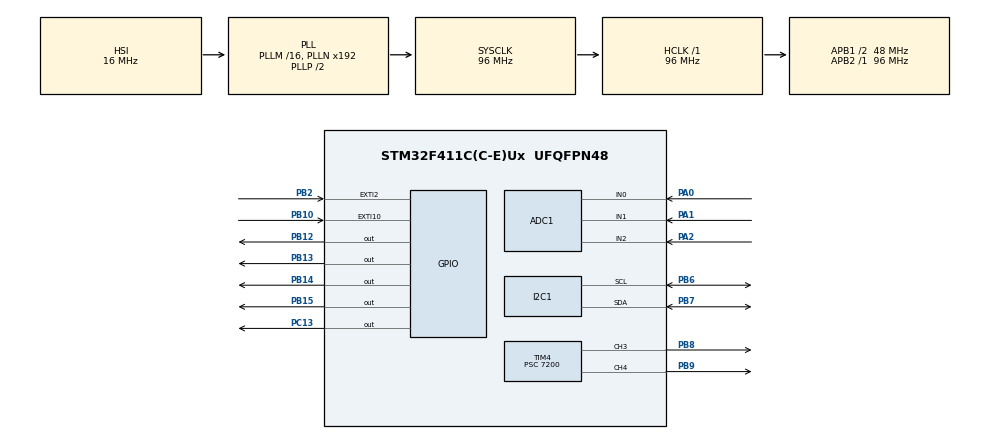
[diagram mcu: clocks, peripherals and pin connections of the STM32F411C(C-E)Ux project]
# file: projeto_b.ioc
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ADC1.Channel-0\#ChannelRegularConversion=ADC_CHANNEL_0
ADC1.NbrOfConversionFlag=1
ADC1.Rank-0\#ChannelRegularConversion=1
ADC1.SamplingTime-0\#ChannelRegularConversion=ADC_SAMPLETIME_3CYCLES
ADC1.master=1
Mcu.Family=STM32F4
Mcu.Name=STM32F411C(C-E)Ux
Mcu.Package=UFQFPN48
NVIC.ADC_IRQn=true\:0\:0\:false\:false\:true\:true\:true\:true
NVIC.PriorityGroup=NVIC_PRIORITYGROUP_4
NVIC.TIM3_IRQn=true\:0\:0\:false\:false\:true\:true\:true\:true
NVIC.TIM4_IRQn=true\:0\:0\:false\:false\:true\:true\:true\:true
PA0-WKUP.Signal=ADCx_IN0
PA1.Signal=ADCx_IN1
PA13.Mode=Serial_Wire
PA13.Signal=SYS_JTMS-SWDIO
PA14.Mode=Serial_Wire
PA14.Signal=SYS_JTCK-SWCLK
PA2.Signal=ADCx_IN2
PB10.GPIO_ModeDefaultEXTI=GPIO_MODE_IT_RISING
PB10.GPIO_PuPd=GPIO_PULLDOWN
PB10.Signal=GPXTI10
PB12.Signal=GPIO_Output
PB13.Signal=GPIO_Output
PB14.Signal=GPIO_Output
PB15.Signal=GPIO_Output
PB2.GPIO_PuPd=GPIO_PULLDOWN
PB2.Signal=GPXTI2
PB6.Mode=I2C
PB6.Signal=I2C1_SCL
PB7.Mode=I2C
PB7.Signal=I2C1_SDA
PB8.Signal=S_TIM4_CH3
PB9.Signal=S_TIM4_CH4
PC13-ANTI_TAMP.Signal=GPIO_Output
PC14-OSC32_IN.Mode=LSE-External-Oscillator
PC14-OSC32_IN.Signal=RCC_OSC32_IN
PC15-OSC32_OUT.Mode=LSE-External-Oscillator
PC15-OSC32_OUT.Signal=RCC_OSC32_OUT
PH0\ -\ OSC_IN.Mode=HSE-External-Oscillator
PH0\ -\ OSC_IN.Signal=RCC_OSC_IN
PH1\ -\ OSC_OUT.Mode=HSE-External-Oscillator
PH1\ -\ OSC_OUT.Signal=RCC_OSC_OUT
ProjectManager.HeapSize=0x200
ProjectManager.StackSize=0x400
ProjectManager.TargetToolchain=STM32CubeIDE
RCC.AHBFreq_Value=96000000
RCC.APB1CLKDivider=RCC_HCLK_DIV2
RCC.APB1Freq_Value=48000000
RCC.APB1TimFreq_Value=96000000
RCC.APB2Freq_Value=96000000
RCC.APB2TimFreq_Value=96000000
RCC.CortexFreq_Value=96000000
RCC.HCLKFreq_Value=96000000
RCC.HSE_VALUE=25000000
RCC.HSI_VALUE=16000000
RCC.SYSCLKFreq_VALUE=96000000
RCC.SYSCLKSource=RCC_SYSCLKSOURCE_PLLCLK
RCC.VCOOutputFreq_Value=192000000
SH.ADCx_IN0.0=ADC1_IN0,IN0
SH.ADCx_IN1.0=ADC1_IN1,IN1
SH.ADCx_IN2.0=ADC1_IN2,IN2
SH.S_TIM4_CH3.0=TIM4_CH3,PWM Generation3 CH3
SH.S_TIM4_CH4.0=TIM4_CH4,PWM Generation4 CH4
TIM3.Period=1380
TIM3.Prescaler=7200
TIM4.Channel-PWM\ Generation3\ CH3=TIM_CHANNEL_3
TIM4.Channel-PWM\ Generation4\ CH4=TIM_CHANNEL_4
TIM4.Period=1380
TIM4.Prescaler=7200
VP_TIM3_VS_ClockSourceINT.Mode=Internal
VP_TIM4_VS_ClockSourceINT.Mode=Internal
board=custom

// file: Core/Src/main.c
/* USER CODE BEGIN Header */
/**
  ******************************************************************************
  * @file           : main.c
  * @brief          : Corpo principal do programa (Main program body)
  * Este código controla um sistema IoT com sensores, display LCD,
  * atuadores via PWM (Ventoinha/Lâmpada) e menus interativos.
  ******************************************************************************
  * @attention
  *
  * Copyright (c) 2025 STMicroelectronics.
  * All rights reserved.
  *
  * This software is licensed under terms that can be found in the LICENSE file
  * in the root directory of this software component.
  * If no LICENSE file comes with this software, it is provided AS-IS.
  *
  ******************************************************************************
  */
#include "i2c_lcd.h" // Biblioteca personalizada para controle do LCD via I2C

#include <stdio.h>   // Necessário para funções como snprintf (formatação de texto)

#include <string.h>  // Necessário para manipulação de strings
/* USER CODE END Header */
#include "main.h"

/* USER CODE BEGIN Includes */
#include <stdlib.h>
/* Private includes ----------------------------------------------------------*/
/* USER CODE BEGIN Includes */

/* USER CODE END Includes */

/* USER CODE BEGIN PTD */

/* --- MÁQUINA DE ESTADOS FINITOS (FSM) --- */
/* Define os 6 estados possíveis do sistema para organizar a lógica de controle */
typedef enum {
    STATE_INIT,         // 1. Inicialização: Mensagem de boas-vindas e setup inicial
    STATE_MONITORING,   // 2. Monitoramento: Apenas lê sensores e mostra no LCD (sem ligar cargas)
    STATE_AUTO_CONTROL, // 3. Automático: Atua nos relés/PWM baseado nos sensores (Lógica principal)
    STATE_MANUAL_MODE,  // 4. Manual: Usuário controla (ou sistema fica em espera/manutenção)
    STATE_ALARM,        // 5. Alarme: Estado crítico quando limites são violados (pisca LED, avisa LCD)
    STATE_CONFIG        // 6. Configuração: Menu interativo para alterar limites e modos
} SystemState;

/* --- ESTRUTURA DO MENU --- */
/* Define as opções navegáveis no LCD */
typedef enum {
    MENU_VALUES,        // Opção 1: Ver valores (retorna ao monitoramento)
    MENU_LIMITS,        // Opção 2: Entrar na edição de limites (Temp, Umid, Luz)
    MENU_MODE,          // Opção 3: Alternar Auto/Manual
    MENU_RESET,         // Opção 4: Reset de software do MCU
    MENU_COUNT          // Auxiliar: Conta quantos itens existem (para cálculo do módulo %)
} MenuOption;

/* USER CODE END PTD */

ADC_HandleTypeDef hadc1; // Handler do Conversor Analógico-Digital 1

I2C_HandleTypeDef hi2c1; // Handler da comunicação I2C (para o LCD)

TIM_HandleTypeDef htim3; // Timer para temporização de leitura (loop de sensores)
TIM_HandleTypeDef htim4; // Timer para geração de PWM (controle de potência Ventoinha/Lâmpada)

/* USER CODE BEGIN PV */
/* --- Variáveis Globais do Usuário --- */

I2C_LCD_HandleTypeDef lcd1;     // Estrutura de controle do display LCD
SystemState currentState = STATE_INIT; // Estado inicial da máquina
MenuOption currentMenuOption = MENU_VALUES; // Opção inicial do menu
uint8_t menuLevel = 0;          // Nível do menu: 0 = Principal, 1 = Sub-menu (edição)
uint8_t currentLimitToEdit = 0; // Índice do limite a editar: 0=Temp, 1=Umid, 2=Luz
uint8_t isEditingLimit = 0;     // Flag: 0 = Navegando, 1 = Editando valor (seta piscando/valor mudando)

// Variáveis de Sensores (Dados Brutos do ADC: 0 a 4095 para 12 bits)
uint16_t adc_temp_raw = 0;  // Leitura Canal PA0
uint16_t adc_humid_raw = 0; // Leitura Canal PA1
uint16_t adc_light_raw = 0; // Leitura Canal PA2

// Valores Convertidos para Unidades Físicas
float temperature = 0.0; // Em Graus Celsius (0-50°C)
float humidity = 0.0;    // Em Porcentagem (0-100%)
float luminosity = 0.0;  // Em Porcentagem (0-100%)

// Limites de Disparo (Setpoints padrão)
float temp_limit_high = 30.0; // Acima disso, liga ventoinha/alarme
float humid_limit_low = 50.0; // Abaixo disso, alarme
float light_limit_low = 50.0; // Abaixo disso, liga lâmpada/alarme

// Flags de Controle do Sistema
uint8_t isAutoMode = 1;  // 1 = Controle Automático (PWM ativo), 0 = Manual
uint8_t systemOn = 1;    // 1 = Sistema Ligado, 0 = Parada de Emergência
uint8_t alarmActive = 0; // 1 = Condição de alarme detectada

// Variáveis de Debounce (Anti-repique) e Interrupções
uint32_t lastButton1Press = 0; // Timestamp da última pressão do Botão 1
uint32_t lastButton2Press = 0; // Timestamp da última pressão do Botão 2
uint8_t sensorUpdateFlag = 0;  // Flag levantada pelo TIM3 para avisar hora de ler sensores
uint8_t button1Flag = 0;       // Flag levantada pela interrupção EXTI (PB2) - Navegar
uint8_t button2Flag = 0;       // Flag levantada pela interrupção EXTI (PB10) - Selecionar
uint8_t emergencyFlag = 0;     // Flag levantada pela interrupção EXTI (PA5) - Emergência

// Definições de Pinos dos LEDs (Mapeamento de Hardware)
#define LED_SYSTEM_ON  GPIO_PIN_13 // PC13 - Indica MCU rodando
#define LED_AUTO_MODE  GPIO_PIN_12 // PB12 - Indica Modo Automático
#define LED_ALARM      GPIO_PIN_13 // PB13 - Indica Alarme Crítico
#define LED_FAN        GPIO_PIN_14 // PB14 - Indica Saída PWM Ventoinha ativa
#define LED_LAMP       GPIO_PIN_15 // PB15 - Indica Saída PWM Lâmpada ativa

/* USER CODE END PV */

void SystemClock_Config(void);
static void MX_GPIO_Init(void);
static void MX_ADC1_Init(void);
static void MX_I2C1_Init(void);
static void MX_TIM3_Init(void);
static void MX_TIM4_Init(void);
/* USER CODE BEGIN PFP */
/* Protótipos das Funções Criadas pelo Usuário */
static void ADC_Read_All(void);          // Lê todos os canais ADC
static void Convert_ADC_Values(void);    // Converte Raw -> Físico
static void State_Handler(void);         // Gerencia a troca de estados
static void Update_LCD_Display(void);    // Atualiza LCD em modo normal
static void Check_Limits_and_Control(void); // Lógica de controle (PWM e Alarmes)
static void Update_LEDs(void);           // Liga/Desliga LEDs físicos

// Funções Específicas do Menu
static void Menu_Display(void);          // Desenha o menu no LCD
static void Menu_Action_Button1(void);   // Lógica do botão "Navegar"
static void Menu_Action_Button2(void);   // Lógica do botão "Selecionar"
/* USER CODE END PFP */

/* USER CODE BEGIN 0 */

/**
  * @brief  Realiza a leitura sequencial dos 3 canais do ADC.
  * Configura o canal, inicia a conversão, aguarda e lê o valor.
  */
static void ADC_Read_All(void)
{
    ADC_ChannelConfTypeDef sConfig = {0};

    // 1. Leitura PA0 (Sensor de Temperatura)
    sConfig.Channel = ADC_CHANNEL_0;
    sConfig.Rank = 1;
    sConfig.SamplingTime = ADC_SAMPLETIME_3CYCLES; // Tempo de amostragem rápido
    if (HAL_ADC_ConfigChannel(&hadc1, &sConfig) == HAL_OK) {
        HAL_ADC_Start(&hadc1); // Inicia conversão
        HAL_ADC_PollForConversion(&hadc1, 100); // Espera terminar (timeout 100ms)
        adc_temp_raw = HAL_ADC_GetValue(&hadc1); // Salva valor bruto
    }

    // 2. Leitura PA1 (Sensor de Umidade)
    sConfig.Channel = ADC_CHANNEL_1;
    if (HAL_ADC_ConfigChannel(&hadc1, &sConfig) == HAL_OK) {
        HAL_ADC_Start(&hadc1);
        HAL_ADC_PollForConversion(&hadc1, 100);
        adc_humid_raw = HAL_ADC_GetValue(&hadc1);
    }

    // 3. Leitura PA2 (Sensor de Luminosidade / LDR)
    sConfig.Channel = ADC_CHANNEL_2;
    if (HAL_ADC_ConfigChannel(&hadc1, &sConfig) == HAL_OK) {
        HAL_ADC_Start(&hadc1);
        HAL_ADC_PollForConversion(&hadc1, 100);
        adc_light_raw = HAL_ADC_GetValue(&hadc1);
    }
}

/**
  * @brief  Converte valores brutos do ADC (0-4095) para valores físicos reais.
  * Aplica regra de três simples baseada na calibração teórica.
  */
static void Convert_ADC_Values(void)
{
    // Proteção: Ignora leituras absurdas (acima de 12 bits)
    if (adc_temp_raw > 4095 || adc_humid_raw > 4095 || adc_light_raw > 4095) {
        // Poderia adicionar flag de erro de sensor aqui
        return;
    }

    // Conversão Matemática:
    // Temperatura: Mapeia 0-4095 para 0-50°C
    temperature = (float)adc_temp_raw * 50.0f / 4095.0f;

    // Umidade: Mapeia 0-4095 para 0-100%
    humidity = (float)adc_humid_raw * 100.0f / 4095.0f;

    // Luminosidade: Mapeia 0-4095 para 0-100%
    luminosity = (float)adc_light_raw * 100.0f / 4095.0f;
}

/**
  * @brief  Coração do controle automático. Verifica limites e ajusta PWM.
  */
static void Check_Limits_and_Control(void)
{
    // 1. Verificação de Limites para acionar ALARME
    // Se Temp alta, Umidade baixa ou Luz baixa -> Ativa Alarme
    if (temperature > temp_limit_high ||
        humidity < humid_limit_low ||
        luminosity < light_limit_low)
    {
        alarmActive = 1;
        // Se não estiver configurando o menu, força ir para tela de alarme
        if (currentState != STATE_CONFIG) {
             currentState = STATE_ALARM;
        }
    }
    // Lógica de Histerese (Zona Morta) para desligar o alarme
    else if (alarmActive)
    {
        // Só desliga o alarme se os valores voltarem com uma margem de segurança
        // (ex: Temp cair 1°C abaixo do limite, Umid subir 2% acima do limite)
        if (temperature < temp_limit_high - 1.0f &&
            humidity > humid_limit_low + 2.0f &&
            luminosity > light_limit_low + 2.0f)
        {
            alarmActive = 0;
            // Retorna ao estado anterior (Auto ou Monitoramento)
            if (currentState == STATE_ALARM) {
                 currentState = isAutoMode ? STATE_AUTO_CONTROL : STATE_MONITORING;
                 lcd_clear(&lcd1); // Limpa tela para tirar mensagem de erro
            }
        }
    }

    // 2. Controle Proporcional (PWM) dos Atuadores
    // Só atua se estiver em modo AUTOMÁTICO e Sistema LIGADO
    if (isAutoMode && systemOn)
    {
        // --- Controle da Ventoinha (Rampa Linear) ---
        uint16_t fan_pwm_pulse = 0;
        float start_temp = 20.0f; // Temperatura onde a ventoinha começa a girar

        if (temperature < start_temp) {
            // Se menor que 20°C -> Ventoinha parada
            fan_pwm_pulse = 0;
        }
        else if (temperature >= temp_limit_high) {
            // Se maior que o Limite -> Velocidade Máxima
            fan_pwm_pulse = htim4.Init.Period;
        }
        else {
            // Rampa Linear entre 20°C e o Limite (ex: 30°C)
            // Calcula regra de três para o Duty Cycle
            float range = temp_limit_high - start_temp;
            if (range <= 0) range = 1.0f; // Evita divisão por zero

            fan_pwm_pulse = (uint16_t)(((temperature - start_temp) / range) * htim4.Init.Period);
        }

        // Aplica o valor ao registrador do Timer 4 Canal 3 (Pino PB8/PB14 dependendo do hardware)
        htim4.Instance->CCR3 = fan_pwm_pulse;

        // --- Controle da Lâmpada (On/Off via PWM Max/Min) ---
        uint16_t lamp_pwm_pulse = 0;
        // Se estiver muito escuro, liga a lâmpada no máximo
        if (luminosity < light_limit_low)
        {
            lamp_pwm_pulse = htim4.Init.Period;
        }
        htim4.Instance->CCR4 = lamp_pwm_pulse; // Atualiza Timer 4 Canal 4

    } else {
        // Se estiver em MANUAL ou DESLIGADO, corta as saídas PWM
        htim4.Instance->CCR3 = 0;
        htim4.Instance->CCR4 = 0;
    }
}

/**
  * @brief  Atualiza o estado físico dos LEDs baseados nas variáveis globais.
  */
static void Update_LEDs(void)
{
    // LED1 (PC13): System On (Aceso se systemOn = 1)
    HAL_GPIO_WritePin(GPIOC, LED_SYSTEM_ON, systemOn ? GPIO_PIN_SET : GPIO_PIN_RESET);

    // LED2 (PB12): Auto Mode (Aceso se Auto = 1 e System = 1)
    HAL_GPIO_WritePin(GPIOB, LED_AUTO_MODE, isAutoMode && systemOn ? GPIO_PIN_SET : GPIO_PIN_RESET);

    // LED3 (PB13): Alarme
    // Se houver alarme, o Timer 3 fará ele piscar. Se não, garante apagado aqui.
    if (alarmActive && systemOn) {
        // O controle de piscar está no Callback do Timer 3
    } else {
        HAL_GPIO_WritePin(GPIOB, LED_ALARM, GPIO_PIN_RESET);
    }

    // LED4 (PB14): Fan Active (Aceso se PWM da ventoinha > 0)
    HAL_GPIO_WritePin(GPIOB, LED_FAN, (htim4.Instance->CCR3 > 0 && systemOn) ? GPIO_PIN_SET : GPIO_PIN_RESET);

    // LED5 (PB15): Lamp Active (Aceso se PWM da lâmpada > 0)
    HAL_GPIO_WritePin(GPIOB, LED_LAMP, (htim4.Instance->CCR4 > 0 && systemOn) ? GPIO_PIN_SET : GPIO_PIN_RESET);
}

/**
  * @brief  Gerenciador principal da Lógica (Máquina de Estados).
  * Executado ciclicamente dentro do While(1).
  */
static void State_Handler(void)
{
    // *** Transição Prioritária 1: Entrar no Menu ***
    // Se algum botão foi apertado, força ida para CONFIG, a menos que seja emergência
    if (button1Flag || button2Flag) {
        if (currentState != STATE_CONFIG && systemOn) {
            currentState = STATE_CONFIG;
            menuLevel = 0;      // Reseta para o topo do menu
            isEditingLimit = 0; // Garante que não entra editando
            lcd_clear(&lcd1);   // Prepara o display
        }
        // Nota: As flags não são limpas aqui, são tratadas dentro do case STATE_CONFIG
    }

    // *** Transição Prioritária 2: Emergência (Sistema Desligado) ***
    if (!systemOn) {
        lcd_clear(&lcd1);
        lcd_gotoxy(&lcd1, 0, 0);
        lcd_puts(&lcd1, "EMERGENCIA!");
        lcd_gotoxy(&lcd1, 0, 1);
        lcd_puts(&lcd1, "SISTEMA OFFLINE");

        // Segurança: Desliga tudo
        htim4.Instance->CCR3 = 0;
        htim4.Instance->CCR4 = 0;
        HAL_GPIO_WritePin(GPIOB, LED_AUTO_MODE | LED_ALARM | LED_FAN | LED_LAMP, GPIO_PIN_RESET);
        return; // Sai da função, não executa o switch abaixo
    }

    // *** Transição Prioritária 3: Alarme Crítico ***
    // Se detectou alarme e não estamos configurando, vai para tela de erro
    if (alarmActive && currentState != STATE_ALARM && currentState != STATE_CONFIG) {
        currentState = STATE_ALARM;
        lcd_clear(&lcd1);
    }

    // Switch Case Principal: Executa a lógica baseada no estado atual
    switch (currentState) {
        case STATE_INIT:
            // Tela de Boot
            lcd_clear(&lcd1);
            lcd_gotoxy(&lcd1, 0, 0);
            lcd_puts(&lcd1, "  Sistema IOT ");
            lcd_gotoxy(&lcd1, 0, 1);
            lcd_puts(&lcd1, "  Iniciando...");
            HAL_Delay(1000); // Aguarda 1s para leitura do usuário
            // Define o estado inicial real
            currentState = isAutoMode ? STATE_AUTO_CONTROL : STATE_MONITORING;
            break;

        case STATE_AUTO_CONTROL:
            // Modo Principal: Lê sensores periodicamente e atua
            if (sensorUpdateFlag) { // Flag setada pelo Timer a cada ~2s
                ADC_Read_All();
                Convert_ADC_Values();
                Check_Limits_and_Control(); // Calcula PWM e verifica Alarmes
                sensorUpdateFlag = 0;       // Reseta flag
            }
            Update_LCD_Display(); // Mostra T, H, L no LCD
            break;

        case STATE_MANUAL_MODE:
             // Modo Manual: Lê sensores mas NÃO atua automaticamente (controle PWM é zero)
             // (Ou poderia ser implementado controle manual via potenciômetro aqui)
             if (sensorUpdateFlag) {
                 ADC_Read_All();
                 Convert_ADC_Values();
                 sensorUpdateFlag = 0;
             }
             Update_LCD_Display();
             break;

        case STATE_ALARM:
            // Modo de Erro: Mostra qual sensor falhou
            if (sensorUpdateFlag) {
                ADC_Read_All();
                Convert_ADC_Values();
                Check_Limits_and_Control(); // Verifica se condições voltaram ao normal
                sensorUpdateFlag = 0;
            }

            // Garante tela limpa na primeira entrada
            static SystemState lastState = STATE_INIT;
            if (lastState != STATE_ALARM) {
                lcd_clear(&lcd1);
            }
            lastState = STATE_ALARM;

            // Exibe mensagem de erro formatada
            lcd_gotoxy(&lcd1, 0, 0);
            lcd_puts(&lcd1, "!!!! ALARME !!!!");

            char msg[17];
            // Identifica a causa do alarme para mostrar na linha 2
            if (temperature > temp_limit_high) snprintf(msg, 17, "T:%.1f > %.0f", temperature, temp_limit_high);
            else if (humidity < humid_limit_low) snprintf(msg, 17, "H:%.1f < %.0f", humidity, humid_limit_low);
            else if (luminosity < light_limit_low) snprintf(msg, 17, "L:%.1f < %.0f", luminosity, light_limit_low);
            else snprintf(msg, 17, "Recuperando..."); // Histerese atuando

            lcd_gotoxy(&lcd1, 0, 1);
            lcd_puts(&lcd1, msg);
            break;

        case STATE_CONFIG:
            // Modo Menu: Processa botões para navegar/editar
            if (button1Flag) {
                Menu_Action_Button1(); // Ação: Próximo / Incrementar
                button1Flag = 0;       // Limpa flag (evento consumido)
            }
            if (button2Flag) {
                Menu_Action_Button2(); // Ação: Entrar / Salvar / Sair
                button2Flag = 0;       // Limpa flag
            }

            Menu_Display(); // Renderiza o menu no LCD
            break;
    }

    Update_LEDs(); // Atualiza LEDs físicos em todo ciclo
    HAL_Delay(10); // Pequeno delay para estabilidade do loop principal
}

/**
  * @brief  Formata e imprime os valores dos sensores no LCD (Modo Normal).
  */
static void Update_LCD_Display(void)
{
    char line1[17];
    char line2[17];

    if (currentState == STATE_MONITORING || currentState == STATE_AUTO_CONTROL) {
        // Linha 1: "T:25.0C H:60.0%"
        snprintf(line1, 17, "T:%.1fC H:%.1f%%", temperature, humidity);
        // Linha 2: "L:80.0% [AUTO]"
        snprintf(line2, 17, "L:%.1f%% %s", luminosity, isAutoMode ? "[AUTO]" : "[MANUAL]");

        lcd_gotoxy(&lcd1, 0, 0);
        lcd_puts(&lcd1, line1);
        lcd_gotoxy(&lcd1, 0, 1);
        lcd_puts(&lcd1, line2);
    }
}

/**
  * @brief  Gerencia o desenho do Menu e Sub-menus no LCD.
  */
static void Menu_Display(void)
{
    // Nível 0: Menu Principal (Lista de opções)
    if (menuLevel == 0) {
        lcd_gotoxy(&lcd1, 0, 0);
        lcd_puts(&lcd1, ">> Menu Principal");
        lcd_gotoxy(&lcd1, 0, 1);

        // Mostra a opção selecionada com base em `currentMenuOption`
        switch (currentMenuOption) {
            case MENU_VALUES:
                lcd_puts(&lcd1, ">1. Valores Atuais");
                break;
            case MENU_LIMITS:
                lcd_puts(&lcd1, ">2. Limites");
                break;
            case MENU_MODE:
                lcd_puts(&lcd1, ">3. Modo: [ ]");
                lcd_gotoxy(&lcd1, 12, 1);
                lcd_puts(&lcd1, isAutoMode ? "AUTO" : "MANUAL"); // Mostra estado atual
                break;
            case MENU_RESET:
                lcd_puts(&lcd1, ">4. Resetar");
                break;
            default:
                lcd_puts(&lcd1, ">Menu Invalido");
                break;
        }
    }
    // Nível 1: Tela de Edição de Limites
    else if (menuLevel == 1 && currentMenuOption == MENU_LIMITS) {
        char line1[17];
        char line2[17];
        // Arrays auxiliares para iterar sobre os limites
        const char *lim_names[] = {"T MAX", "H MIN", "L MIN"};
        float *limits[] = {&temp_limit_high, &humid_limit_low, &light_limit_low};

        // Verifica se estamos editando um dos 3 limites ou na opção "Voltar"
        if (currentLimitToEdit <= 2) {
            // Mostra Nome do Limite e Valor Atual
            snprintf(line1, 17, "%s: %.1f%s", lim_names[currentLimitToEdit], *limits[currentLimitToEdit], currentLimitToEdit == 0 ? "C" : "%");
            lcd_gotoxy(&lcd1, 0, 0);
            lcd_puts(&lcd1, line1);

            if (isEditingLimit) {
                // Modo Edição Ativa: B1 soma valor, B2 salva
                snprintf(line2, 17, "B1:+1.0 | B2:SALVAR");
            } else {
                // Modo Navegação: B1 vai pro próximo, B2 edita este
                snprintf(line2, 17, ">B1:PROX | B2:EDITAR");
            }
        } else {
            // Opção 4: Sair/Voltar
            lcd_gotoxy(&lcd1, 0, 0);
            lcd_puts(&lcd1, " Limites Config.");
            snprintf(line2, 17, "> B1:PROX | B2:VOLTAR");
        }

        lcd_gotoxy(&lcd1, 0, 1);
        lcd_puts(&lcd1, line2);
    }
}

/**
  * @brief  Lógica do Botão 1 (Navegação/Incremento).
  */
static void Menu_Action_Button1(void)
{
    if (menuLevel == 0) {
        // No Menu Principal: Desce para a próxima opção (ciclo infinito)
        currentMenuOption = (currentMenuOption + 1) % MENU_COUNT;
    }
    else if (menuLevel == 1 && currentMenuOption == MENU_LIMITS) {
        // No Sub-menu de Limites
        float *limits[] = {&temp_limit_high, &humid_limit_low, &light_limit_low};

        if (isEditingLimit) {
            // Se editando: Soma +1.0 ao valor
            *limits[currentLimitToEdit] += 1.0f;

            // Clamping: Impede valores absurdos
            if (currentLimitToEdit == 0 && *limits[0] > 50.0f) *limits[0] = 50.0f; // Max Temp 50
            if (currentLimitToEdit > 0 && *limits[currentLimitToEdit] > 100.0f) *limits[currentLimitToEdit] = 100.0f; // Max % 100
        } else {
            // Se navegando: Vai para o próximo limite
            currentLimitToEdit++;
            if (currentLimitToEdit > 3) { // 0, 1, 2, 3(Voltar)
                currentLimitToEdit = 0;
            }
        }
    }
}

/**
  * @brief  Lógica do Botão 2 (Seleção/Edição/Confirmação).
  */
static void Menu_Action_Button2(void)
{
    // Nível 0: Executa a opção selecionada no Menu Principal
    if (menuLevel == 0) {
        switch (currentMenuOption) {
            case MENU_VALUES:
                // Sai do menu e volta a mostrar valores
                currentState = isAutoMode ? STATE_AUTO_CONTROL : STATE_MONITORING;
                lcd_clear(&lcd1);
                menuLevel = 0;
                break;
            case MENU_LIMITS:
                // Entra no sub-menu de limites
                menuLevel = 1;
                currentLimitToEdit = 0;
                isEditingLimit = 0;
                lcd_clear(&lcd1);
                break;
            case MENU_MODE:
                // Alterna flag Auto/Manual imediatamente
                isAutoMode = !isAutoMode;
                currentState = isAutoMode ? STATE_AUTO_CONTROL : STATE_MONITORING;
                lcd_clear(&lcd1);
                break;
            case MENU_RESET:
                // Reseta o microcontrolador via software
                NVIC_SystemReset();
                break;
            default:
                break;
        }
    }
    // Nível 1: Lógica dentro do Sub-menu Limites
    else if (menuLevel == 1 && currentMenuOption == MENU_LIMITS) {
        if (currentLimitToEdit <= 2) {
            // Se estiver sobre um valor (Temp/Umid/Luz)
            if (isEditingLimit) {
                // Se já estava editando, SALVA (para de editar)
                isEditingLimit = 0;
            } else {
                // Se não estava, COMEÇA a editar
                isEditingLimit = 1;
            }
        } else { // Opção "Voltar"
            // Retorna ao Menu Principal
            menuLevel = 0;
            currentLimitToEdit = 0;
            isEditingLimit = 0;
            lcd_clear(&lcd1);
        }
    }
}

/**
  * @brief  Callback do Timer. Executado quando TIM3 estoura.
  * @param  htim: Ponteiro para o timer que gerou a interrupção.
  */
void HAL_TIM_PeriodElapsedCallback(TIM_HandleTypeDef *htim)

{

if (htim->Instance == TIM3)

{

// Timer 3: Controle de tempo para leitura de sensores
// Configurado para gerar interrupção periódica.

static uint8_t count2s = 0; // Contador auxiliar para gerar base de tempo maior

if (count2s++ >= 5) // Exemplo: Se timer base é 100ms, 5x = 500ms (ajustar conforme prescaler)
{
    sensorUpdateFlag = 1; // Avisa o loop principal para ler ADC
    count2s = 0;
}

// Controle do Piscar do LED de Alarme (Toggle)
if (alarmActive && systemOn)
{
    HAL_GPIO_TogglePin(GPIOB, LED_ALARM); // Inverte estado do pino
}

}

}

/**
  * @brief  Callback de Interrupção Externa (Botões e Emergência).
  * Chamado quando há mudança de estado nos pinos configurados como EXTI.
  */
void HAL_GPIO_EXTI_Callback(uint16_t GPIO_Pin)
{
    // Debounce: Evita múltiplas leituras falsas causadas pela mecânica do botão
    uint32_t currentTick = HAL_GetTick();

    if (GPIO_Pin == GPIO_PIN_2) // Botão 1 (PB2) - Navegar
    {
        if (currentTick - lastButton1Press > 200) // Ignora se pressionado em menos de 200ms
        {
            button1Flag = 1; // Seta flag para o State_Handler processar
            lastButton1Press = currentTick;
        }
    }
    else if (GPIO_Pin == GPIO_PIN_10) // Botão 2 (PB10) - Selecionar
        {
            // Debounce maior (400ms) para evitar cliques duplos acidentais no menu
            if (currentTick - lastButton2Press > 400)
            {
                button2Flag = 1;
                lastButton2Press = currentTick;
            }
        }
    else if (GPIO_Pin == GPIO_PIN_5) // Botão de Emergência (PA5)
    {
        // Prioridade máxima: Desliga sistema instantaneamente via hardware/flag
        systemOn = 0;
        emergencyFlag = 1;
    }
}

/**
  * @brief System Clock Configuration
  * @retval None
  */

/* USER CODE END 0 */

/**
  * @brief  Ponto de entrada do programa (Main).
  * @retval int
  */
int main(void)
{
  /* USER CODE BEGIN 1 */
  // Inicializações de baixo nível (antes do HAL)
  /* USER CODE END 1 */

  /* MCU Configuration--------------------------------------------------------*/

  /* Reset de todos periféricos e Init da Flash/Systick */
  HAL_Init();

  /* Configura o Clock do sistema (PLL, Prescalers) */
  SystemClock_Config();

  /* Inicializa os periféricos configurados no CubeMX */
  MX_GPIO_Init();  // GPIOs (LEDs, Botões)
  MX_ADC1_Init();  // ADC (Sensores)
  MX_I2C1_Init();  // I2C (LCD)
  MX_TIM3_Init();  // Timer Leitura/Pisca
  MX_TIM4_Init();  // Timer PWM
  /* USER CODE BEGIN 2 */

  // Configuração e Inicialização do Driver do LCD
  lcd1.hi2c = &hi2c1; // Associa handler I2C
  lcd1.address = 0x27 << 1; // Endereço I2C do módulo (0x27 deslocado)
  lcd_init(&lcd1); // Sequência de init do display

  // Inicia Timer 3 em modo Interrupção (base de tempo)
  HAL_TIM_Base_Start_IT(&htim3);

  // Inicia canais de PWM do Timer 4
  HAL_TIM_PWM_Start(&htim4, TIM_CHANNEL_3); // Ventoinha
  HAL_TIM_PWM_Start(&htim4, TIM_CHANNEL_4); // Lâmpada

  // Garante que PWM comece zerado
  htim4.Instance->CCR3 = 0;
  htim4.Instance->CCR4 = 0;

  // Define estado inicial da FSM
  currentState = STATE_INIT;

  /* USER CODE END 2 */

  /* Infinite loop */
  /* USER CODE BEGIN WHILE */
  // Loop Principal do programa
  while (1)
  {
      // Chama o gerenciador de estados continuamente
	  State_Handler();

	  // Pequeno atraso para evitar consumo excessivo de CPU e dar tempo para ADC/Display
	  HAL_Delay(10);

    /* USER CODE END WHILE */

  }
}

void SystemClock_Config(void)
{
  RCC_OscInitTypeDef RCC_OscInitStruct = {0};
  RCC_ClkInitTypeDef RCC_ClkInitStruct = {0};

  /** Configure the main internal regulator output voltage
  */
  __HAL_RCC_PWR_CLK_ENABLE();
  __HAL_PWR_VOLTAGESCALING_CONFIG(PWR_REGULATOR_VOLTAGE_SCALE1);

  /** Initializes the RCC Oscillators according to the specified parameters
  * in the RCC_OscInitTypeDef structure.
  */
  // Configura oscilador interno (HSI) e PLL para atingir clock desejado
  RCC_OscInitStruct.OscillatorType = RCC_OSCILLATORTYPE_HSI;
  RCC_OscInitStruct.HSIState = RCC_HSI_ON;
  RCC_OscInitStruct.HSICalibrationValue = RCC_HSICALIBRATION_DEFAULT;
  RCC_OscInitStruct.PLL.PLLState = RCC_PLL_ON;
  RCC_OscInitStruct.PLL.PLLSource = RCC_PLLSOURCE_HSI;
  RCC_OscInitStruct.PLL.PLLM = 16;
  RCC_OscInitStruct.PLL.PLLN = 192; // Configuração de multiplicadores do PLL
  RCC_OscInitStruct.PLL.PLLP = RCC_PLLP_DIV2;
  RCC_OscInitStruct.PLL.PLLQ = 4;
  if (HAL_RCC_OscConfig(&RCC_OscInitStruct) != HAL_OK)
  {
    Error_Handler();
  }

  /** Initializes the CPU, AHB and APB buses clocks
  */
  // Distribui clocks para os barramentos
  RCC_ClkInitStruct.ClockType = RCC_CLOCKTYPE_HCLK|RCC_CLOCKTYPE_SYSCLK
                              |RCC_CLOCKTYPE_PCLK1|RCC_CLOCKTYPE_PCLK2;
  RCC_ClkInitStruct.SYSCLKSource = RCC_SYSCLKSOURCE_PLLCLK;
  RCC_ClkInitStruct.AHBCLKDivider = RCC_SYSCLK_DIV1;
  RCC_ClkInitStruct.APB1CLKDivider = RCC_HCLK_DIV2;
  RCC_ClkInitStruct.APB2CLKDivider = RCC_HCLK_DIV1;

  if (HAL_RCC_ClockConfig(&RCC_ClkInitStruct, FLASH_LATENCY_3) != HAL_OK)
  {
    Error_Handler();
  }
}

static void MX_ADC1_Init(void)
{

  ADC_ChannelConfTypeDef sConfig = {0};

  /** Configure the global features of the ADC (Clock, Resolution, Data Alignment and number of conversion)
  */
  hadc1.Instance = ADC1;
  hadc1.Init.ClockPrescaler = ADC_CLOCK_SYNC_PCLK_DIV4; // Divisor de clock
  hadc1.Init.Resolution = ADC_RESOLUTION_12B; // Resolução de 12 bits (0-4095)
  hadc1.Init.ScanConvMode = DISABLE; // Modo Single Channel (gerenciado manualmente)
  hadc1.Init.ContinuousConvMode = DISABLE;
  hadc1.Init.DiscontinuousConvMode = DISABLE;
  hadc1.Init.ExternalTrigConvEdge = ADC_EXTERNALTRIGCONVEDGE_NONE;
  hadc1.Init.ExternalTrigConv = ADC_SOFTWARE_START; // Gatilho via Software
  hadc1.Init.DataAlign = ADC_DATAALIGN_RIGHT;
  hadc1.Init.NbrOfConversion = 1;
  hadc1.Init.DMAContinuousRequests = DISABLE;
  hadc1.Init.EOCSelection = ADC_EOC_SINGLE_CONV;
  if (HAL_ADC_Init(&hadc1) != HAL_OK)
  {
    Error_Handler();
  }

  /** Configure for the selected ADC regular channel its corresponding rank in the sequencer and its sample time.
  */
  // Configuração inicial padrão para o canal 0
  sConfig.Channel = ADC_CHANNEL_0;
  sConfig.Rank = 1;
  sConfig.SamplingTime = ADC_SAMPLETIME_3CYCLES;
  if (HAL_ADC_ConfigChannel(&hadc1, &sConfig) != HAL_OK)
  {
    Error_Handler();
  }

}

static void MX_I2C1_Init(void)
{

  hi2c1.Instance = I2C1;
  hi2c1.Init.ClockSpeed = 100000; // Velocidade padrão 100kHz
  hi2c1.Init.DutyCycle = I2C_DUTYCYCLE_2;
  hi2c1.Init.OwnAddress1 = 0;
  hi2c1.Init.AddressingMode = I2C_ADDRESSINGMODE_7BIT;
  hi2c1.Init.DualAddressMode = I2C_DUALADDRESS_DISABLE;
  hi2c1.Init.OwnAddress2 = 0;
  hi2c1.Init.GeneralCallMode = I2C_GENERALCALL_DISABLE;
  hi2c1.Init.NoStretchMode = I2C_NOSTRETCH_DISABLE;
  if (HAL_I2C_Init(&hi2c1) != HAL_OK)
  {
    Error_Handler();
  }

}

static void MX_TIM3_Init(void)
{

  TIM_ClockConfigTypeDef sClockSourceConfig = {0};
  TIM_MasterConfigTypeDef sMasterConfig = {0};

  htim3.Instance = TIM3;
  htim3.Init.Prescaler = 7200; // Reduz o clock alto da CPU
  htim3.Init.CounterMode = TIM_COUNTERMODE_UP;
  htim3.Init.Period = 1380; // Valor de estouro (ARR) para gerar ~10Hz
  htim3.Init.ClockDivision = TIM_CLOCKDIVISION_DIV1;
  htim3.Init.AutoReloadPreload = TIM_AUTORELOAD_PRELOAD_DISABLE;
  if (HAL_TIM_Base_Init(&htim3) != HAL_OK)
  {
    Error_Handler();
  }
  sClockSourceConfig.ClockSource = TIM_CLOCKSOURCE_INTERNAL;
  if (HAL_TIM_ConfigClockSource(&htim3, &sClockSourceConfig) != HAL_OK)
  {
    Error_Handler();
  }
  sMasterConfig.MasterOutputTrigger = TIM_TRGO_RESET;
  sMasterConfig.MasterSlaveMode = TIM_MASTERSLAVEMODE_DISABLE;
  if (HAL_TIMEx_MasterConfigSynchronization(&htim3, &sMasterConfig) != HAL_OK)
  {
    Error_Handler();
  }

}

static void MX_TIM4_Init(void)
{
  TIM_ClockConfigTypeDef sClockSourceConfig = {0};
  TIM_MasterConfigTypeDef sMasterConfig = {0};
  TIM_OC_InitTypeDef sConfigOC = {0};

  htim4.Instance = TIM4;

  // *** ALTERAÇÃO CRÍTICA PARA ELIMINAR O PISCAR ***
  // Configuração para frequência de 1 kHz
  // Frequência base estimada: 96MHz (conforme SystemClock_Config)
  // Prescaler 95 -> Clock do Timer = 1 MHz (1 us de precisão)
  // Period 999   -> Frequência PWM = 1 kHz (1000 Hz) - Totalmente linear e sem piscar
  htim4.Init.Prescaler = 95;
  htim4.Init.CounterMode = TIM_COUNTERMODE_UP;
  htim4.Init.Period = 999; // Resolução do PWM: 0 a 999 (1000 passos)
  htim4.Init.ClockDivision = TIM_CLOCKDIVISION_DIV1;
  htim4.Init.AutoReloadPreload = TIM_AUTORELOAD_PRELOAD_DISABLE;

  if (HAL_TIM_Base_Init(&htim4) != HAL_OK)
  {
    Error_Handler();
  }
  sClockSourceConfig.ClockSource = TIM_CLOCKSOURCE_INTERNAL;
  if (HAL_TIM_ConfigClockSource(&htim4, &sClockSourceConfig) != HAL_OK)
  {
    Error_Handler();
  }
  if (HAL_TIM_PWM_Init(&htim4) != HAL_OK)
  {
    Error_Handler();
  }
  sMasterConfig.MasterOutputTrigger = TIM_TRGO_RESET;
  sMasterConfig.MasterSlaveMode = TIM_MASTERSLAVEMODE_DISABLE;
  if (HAL_TIMEx_MasterConfigSynchronization(&htim4, &sMasterConfig) != HAL_OK)
  {
    Error_Handler();
  }

  // Configuração dos Canais PWM
  sConfigOC.OCMode = TIM_OCMODE_PWM1; // PWM Modo 1 (Contagem Up, High quando < CCR)
  sConfigOC.Pulse = 0; // Duty Cycle inicial 0%
  sConfigOC.OCPolarity = TIM_OCPOLARITY_HIGH;
  sConfigOC.OCFastMode = TIM_OCFAST_DISABLE;

  if (HAL_TIM_PWM_ConfigChannel(&htim4, &sConfigOC, TIM_CHANNEL_3) != HAL_OK)
  {
    Error_Handler();
  }
  if (HAL_TIM_PWM_ConfigChannel(&htim4, &sConfigOC, TIM_CHANNEL_4) != HAL_OK)
  {
    Error_Handler();
  }

  HAL_TIM_MspPostInit(&htim4); // Configuração dos pinos físicos para PWM
}

static void MX_GPIO_Init(void)
{
  GPIO_InitTypeDef GPIO_InitStruct = {0};

  /* Habilita clocks das portas GPIO usadas */
  __HAL_RCC_GPIOC_CLK_ENABLE();
  __HAL_RCC_GPIOH_CLK_ENABLE();
  __HAL_RCC_GPIOA_CLK_ENABLE();
  __HAL_RCC_GPIOB_CLK_ENABLE();

  /* Configura estado inicial dos pinos de Saída (RESET = 0V) */
  HAL_GPIO_WritePin(GPIOC, GPIO_PIN_13, GPIO_PIN_RESET);
  HAL_GPIO_WritePin(GPIOB, GPIO_PIN_12|GPIO_PIN_13|GPIO_PIN_14|GPIO_PIN_15, GPIO_PIN_RESET);

  /* Configura PC13 (LED System On) como Saída Push-Pull */
  GPIO_InitStruct.Pin = GPIO_PIN_13;
  GPIO_InitStruct.Mode = GPIO_MODE_OUTPUT_PP;
  GPIO_InitStruct.Pull = GPIO_NOPULL;
  GPIO_InitStruct.Speed = GPIO_SPEED_FREQ_LOW;
  HAL_GPIO_Init(GPIOC, &GPIO_InitStruct);

  /* Configura Botões (PB2 e PB10) como Entrada com Interrupção (Borda de Subida) */
  GPIO_InitStruct.Pin = GPIO_PIN_2|GPIO_PIN_10;
  GPIO_InitStruct.Mode = GPIO_MODE_IT_RISING; // Dispara IRQ quando aperta
  GPIO_InitStruct.Pull = GPIO_PULLDOWN;       // Resistor interno de Pull-Down
  HAL_GPIO_Init(GPIOB, &GPIO_InitStruct);

  /* Configura LEDs PB12-PB15 como Saída Push-Pull */
  GPIO_InitStruct.Pin = GPIO_PIN_12|GPIO_PIN_13|GPIO_PIN_14|GPIO_PIN_15;
  GPIO_InitStruct.Mode = GPIO_MODE_OUTPUT_PP;
  GPIO_InitStruct.Pull = GPIO_NOPULL;
  GPIO_InitStruct.Speed = GPIO_SPEED_FREQ_LOW;
  HAL_GPIO_Init(GPIOB, &GPIO_InitStruct);

/* USER CODE BEGIN MX_GPIO_Init_2 */
  // Configuração das prioridades de Interrupção no NVIC
  // Linha 2 do EXTI (para PB2)
    HAL_NVIC_SetPriority(EXTI2_IRQn, 0, 0);
    HAL_NVIC_EnableIRQ(EXTI2_IRQn);

    // Linhas 15-10 do EXTI (para PB10)
    HAL_NVIC_SetPriority(EXTI15_10_IRQn, 0, 0);
    HAL_NVIC_EnableIRQ(EXTI15_10_IRQn);
/* USER CODE END MX_GPIO_Init_2 */
}

/**
  * @brief  Esta função é chamada em caso de erro crítico de hardware/config.
  * @retval None
  */
void Error_Handler(void)
{
  /* USER CODE BEGIN Error_Handler_Debug */
  /* O usuário pode adicionar implementação para reportar erro (ex: piscar LED rápido) */
  __disable_irq(); // Desabilita interrupções para travar o sistema
  while (1)
  {
  }
  /* USER CODE END Error_Handler_Debug */
}
